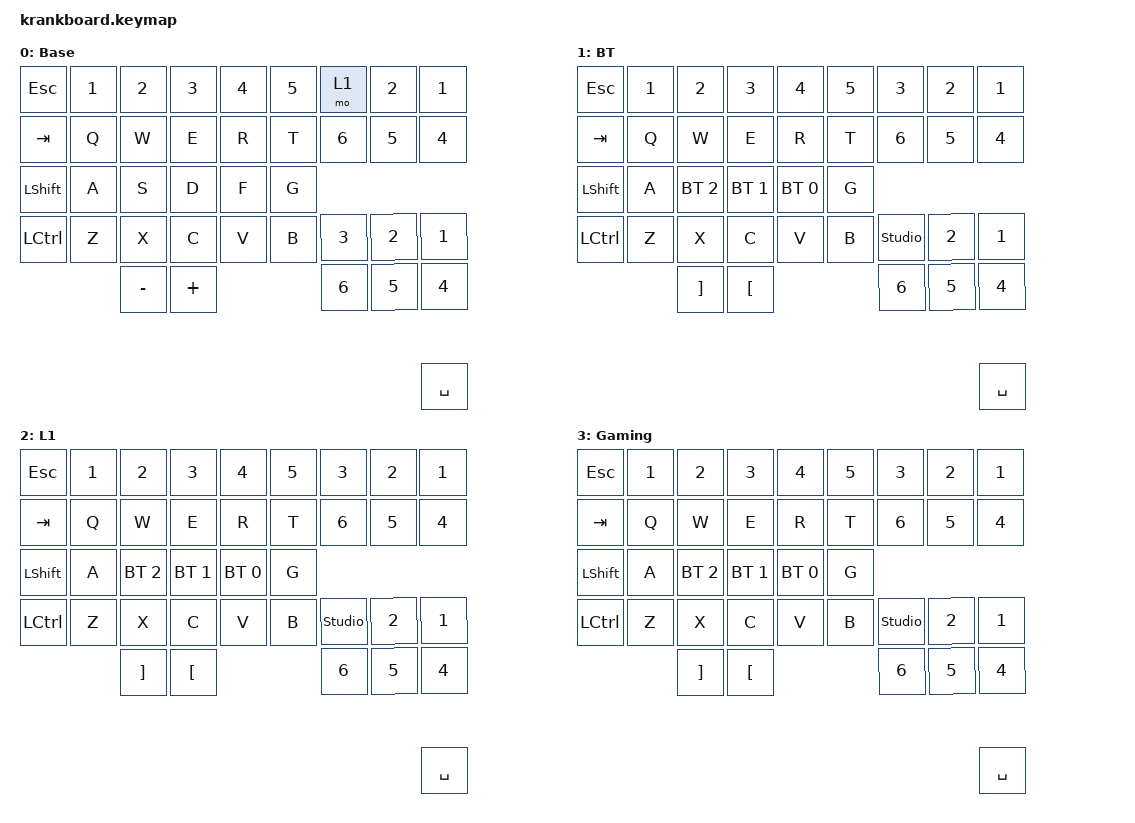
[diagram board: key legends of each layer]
#include <behaviors.dtsi>
#include <dt-bindings/zmk/keys.h>
#include <dt-bindings/zmk/bt.h>

/{
	keymap {
		compatible = "zmk,keymap";
		
		default_layer {
			display-name = "Base";
			bindings = <
				&kp NUMBER_1		&kp NUMBER_2		&mo 1			&kp N5		&kp N4		&kp N3		&kp N2		&kp N1		&kp ESCAPE
				&kp NUMBER_4		&kp NUMBER_5		&kp NUMBER_6		&kp T		&kp R		&kp E		&kp W		&kp Q		&kp TAB
				&kp NUMBER_1		&kp NUMBER_2		&kp NUMBER_3		&kp G		&kp F		&kp D		&kp S		&kp A		&kp LSHIFT
				&kp NUMBER_4		&kp NUMBER_5		&kp NUMBER_6		&kp B		&kp V		&kp C		&kp X		&kp Z		&kp LCTRL
				&kp SPACE												&kp PLUS	&kp MINUS			
			>;
		};
		
		bt_layer {
			display-name = "BT";
			bindings = <
				&kp NUMBER_1		&kp NUMBER_2		&kp NUMBER_3		&kp N5		&kp N4		&kp N3		&kp N2		&kp N1		&kp ESCAPE
				&kp NUMBER_4		&kp NUMBER_5		&kp NUMBER_6		&kp T		&kp R		&kp E		&kp W		&kp Q		&kp TAB
				&kp NUMBER_1		&kp NUMBER_2		&studio_unlock		&kp G		&bt BT_SEL 0	&bt BT_SEL 1	&bt BT_SEL 2	&kp A		&kp LSHIFT
				&kp NUMBER_4		&kp NUMBER_5		&kp NUMBER_6		&kp B		&kp V		&kp C		&kp X		&kp Z		&kp LCTRL
				&kp SPACE												&kp LBKT	&kp RBKT												
			>;
		};

		L1_layer {
			display-name = "L1";
			bindings = <
				&kp NUMBER_1		&kp NUMBER_2		&kp NUMBER_3		&kp N5		&kp N4		&kp N3		&kp N2		&kp N1		&kp ESCAPE
				&kp NUMBER_4		&kp NUMBER_5		&kp NUMBER_6		&kp T		&kp R		&kp E		&kp W		&kp Q		&kp TAB
				&kp NUMBER_1		&kp NUMBER_2		&studio_unlock		&kp G		&bt BT_SEL 0	&bt BT_SEL 1	&bt BT_SEL 2	&kp A		&kp LSHIFT
				&kp NUMBER_4		&kp NUMBER_5		&kp NUMBER_6		&kp B		&kp V		&kp C		&kp X		&kp Z		&kp LCTRL
				&kp SPACE												&kp LBKT	&kp RBKT												
			>;
		};

		Gaming_layer {
			display-name = "Gaming";
			bindings = <
				&kp NUMBER_1		&kp NUMBER_2		&kp NUMBER_3		&kp N5		&kp N4		&kp N3		&kp N2		&kp N1		&kp ESCAPE
				&kp NUMBER_4		&kp NUMBER_5		&kp NUMBER_6		&kp T		&kp R		&kp E		&kp W		&kp Q		&kp TAB
				&kp NUMBER_1		&kp NUMBER_2		&studio_unlock		&kp G		&bt BT_SEL 0	&bt BT_SEL 1	&bt BT_SEL 2	&kp A		&kp LSHIFT
				&kp NUMBER_4		&kp NUMBER_5		&kp NUMBER_6		&kp B		&kp V		&kp C		&kp X		&kp Z		&kp LCTRL
				&kp SPACE												&kp LBKT	&kp RBKT												
			>;
		};
	};
};
